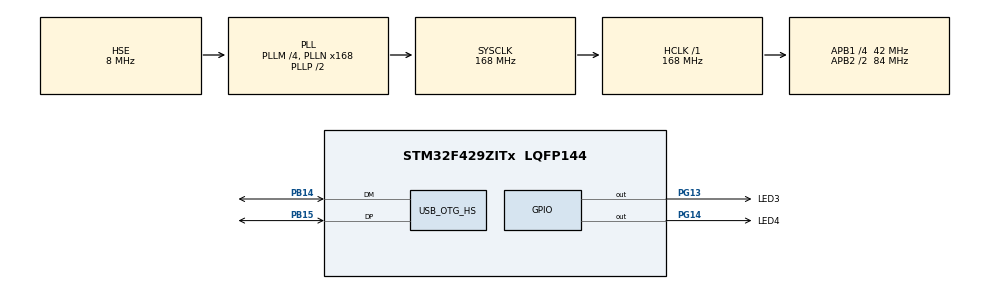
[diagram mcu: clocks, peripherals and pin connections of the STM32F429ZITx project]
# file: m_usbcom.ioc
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Mcu.Family=STM32F4
Mcu.Name=STM32F429ZITx
Mcu.Package=LQFP144
NVIC.OTG_HS_IRQn=true\:0\:0\:false\:false\:true\:false\:true\:true
NVIC.PriorityGroup=NVIC_PRIORITYGROUP_4
PA13.Mode=Serial_Wire
PA13.Signal=SYS_JTMS-SWDIO
PA14.Mode=Serial_Wire
PA14.Signal=SYS_JTCK-SWCLK
PB14.Mode=Device_Only_FS
PB14.Signal=USB_OTG_HS_DM
PB15.Mode=Device_Only_FS
PB15.Signal=USB_OTG_HS_DP
PG13.GPIO_Label=LED3
PG13.GPIO_Speed=GPIO_SPEED_FREQ_HIGH
PG13.Signal=GPIO_Output
PG14.GPIO_Label=LED4
PG14.GPIO_Speed=GPIO_SPEED_FREQ_HIGH
PG14.Signal=GPIO_Output
PH0/OSC_IN.Mode=HSE-External-Oscillator
PH0/OSC_IN.Signal=RCC_OSC_IN
PH1/OSC_OUT.Mode=HSE-External-Oscillator
PH1/OSC_OUT.Signal=RCC_OSC_OUT
ProjectManager.HeapSize=0x200
ProjectManager.StackSize=0x400
ProjectManager.TargetToolchain=STM32CubeIDE
RCC.48MHZClocksFreq_Value=48000000
RCC.AHBFreq_Value=168000000
RCC.APB1CLKDivider=RCC_HCLK_DIV4
RCC.APB1Freq_Value=42000000
RCC.APB1TimFreq_Value=84000000
RCC.APB2CLKDivider=RCC_HCLK_DIV2
RCC.APB2Freq_Value=84000000
RCC.APB2TimFreq_Value=168000000
RCC.CortexFreq_Value=168000000
RCC.HCLKFreq_Value=168000000
RCC.HSE_VALUE=8000000
RCC.HSI_VALUE=16000000
RCC.LSE_VALUE=32768
RCC.PLLM=4
RCC.PLLN=168
RCC.PLLQ=7
RCC.SYSCLKFreq_VALUE=168000000
RCC.SYSCLKSource=RCC_SYSCLKSOURCE_PLLCLK
RCC.VCOOutputFreq_Value=336000000
USB_DEVICE.CLASS_NAME_HS=CDC
USB_DEVICE.VirtualMode-CDC_HS=Cdc
USB_DEVICE.VirtualModeHS=Cdc_HS
USB_OTG_HS.VirtualMode-Device_Only_FS=Device_Only_FS
VP_USB_DEVICE_VS_USB_DEVICE_CDC_HS.Mode=CDC_HS
board=custom

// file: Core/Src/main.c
/* USER CODE BEGIN Header */
/**
  ******************************************************************************
  * @file           : main.c
  * @brief          : Main program body
  ******************************************************************************
  * @attention
  *
  * Copyright (c) 2022 STMicroelectronics.
  * All rights reserved.
  *
  * This software is licensed under terms that can be found in the LICENSE file
  * in the root directory of this software component.
  * If no LICENSE file comes with this software, it is provided AS-IS.
  *
  ******************************************************************************
  */
/* USER CODE END Header */
#include "main.h"
#include "string.h"
#include "usb_device.h"

/* USER CODE BEGIN Includes */
#include "usbd_cdc_if.h"
#include "stm32f429i_discovery_sdram.h"
#include "stm32f429i_discovery_lcd.h"

/* USER CODE END Includes */

void SystemClock_Config(void);
static void MX_GPIO_Init(void);

/* USER CODE BEGIN 0 */
uint8_t Rx_buffer[128];
/* USER CODE END 0 */

int main(void)
{

  /* MCU Configuration--------------------------------------------------------*/

  /* Reset of all peripherals, Initializes the Flash interface and the Systick. */
  HAL_Init();

  /* Configure the system clock */
  SystemClock_Config();

  /* Initialize all configured peripherals */
  MX_GPIO_Init();
  MX_USB_DEVICE_Init();
  /* USER CODE BEGIN 2 */
  BSP_LCD_Init();
  //Initial setup LCD display
  BSP_LCD_LayerDefaultInit(1,SDRAM_DEVICE_ADDR);
  BSP_LCD_SelectLayer(1);
  BSP_LCD_DisplayOn(); //turn on LCD
  BSP_LCD_SetFont(&Font16);
  BSP_LCD_GetFont();
  BSP_LCD_Clear(LCD_COLOR_BLACK); //clear the LCD on Black color
  BSP_LCD_SetBackColor(LCD_COLOR_BLACK); //set background color is black
  BSP_LCD_SetTextColor(LCD_COLOR_WHITE);

  BSP_LCD_DisplayStringAtLine(1,(uint8_t*)"Good evening, ");
  BSP_LCD_DisplayStringAtLine(2,(uint8_t*)"it's too dark here");

  /* USER CODE END 2 */
  /* Infinite loop */
  /* USER CODE BEGIN WHILE */
  while (1)
  {
	  	  int done = 0;

		  while(strncmp((const char *)Rx_buffer,"Hello STM",sizeof(Rx_buffer))!=0)
		  {
			  memset(Rx_buffer,0,sizeof(Rx_buffer));
		  }

		  BSP_LCD_Clear(LCD_COLOR_BLACK);
		  BSP_LCD_DisplayStringAtLine(1,(uint8_t*)"Do you want to turn");
		  BSP_LCD_DisplayStringAtLine(2,(uint8_t*)"on light?");
		  done = 1;

		  while(done) {
			  if(strncmp((const char*)Rx_buffer,"Turn on LED 3",sizeof(Rx_buffer))==0)
			  {
				  HAL_GPIO_WritePin(GPIOG, GPIO_PIN_13, GPIO_PIN_SET);
				  memset(Rx_buffer,0,sizeof(Rx_buffer));
			  }
			  else if(strncmp((const char*)Rx_buffer,"Turn on LED 4",sizeof(Rx_buffer))==0)
			  {
				  HAL_GPIO_WritePin(GPIOG, GPIO_PIN_14, GPIO_PIN_SET);
				  memset(Rx_buffer,0,sizeof(Rx_buffer));
			  }
			  else if(strncmp((const char*)Rx_buffer,"Turn off LED 3",sizeof(Rx_buffer))==0)
			  {
				  HAL_GPIO_WritePin(GPIOG, GPIO_PIN_13, GPIO_PIN_RESET);
				  memset(Rx_buffer,0,sizeof(Rx_buffer));
			  }
			  else if(strncmp((const char*)Rx_buffer,"Turn off LED 4",sizeof(Rx_buffer))==0)
			  {
				  HAL_GPIO_WritePin(GPIOG, GPIO_PIN_14, GPIO_PIN_RESET);
				  memset(Rx_buffer,0,sizeof(Rx_buffer));
			  }
			  else if(strncmp((const char*)Rx_buffer,"Good night",sizeof(Rx_buffer))==0)
			  {
				  HAL_GPIO_WritePin(GPIOG, GPIO_PIN_13, GPIO_PIN_RESET);
				  HAL_GPIO_WritePin(GPIOG, GPIO_PIN_14, GPIO_PIN_RESET);
				  memset(Rx_buffer,0,sizeof(Rx_buffer));
			  }
		  }
	}
}

void SystemClock_Config(void)
{
  RCC_OscInitTypeDef RCC_OscInitStruct = {0};
  RCC_ClkInitTypeDef RCC_ClkInitStruct = {0};

  /** Configure the main internal regulator output voltage
  */
  __HAL_RCC_PWR_CLK_ENABLE();
  __HAL_PWR_VOLTAGESCALING_CONFIG(PWR_REGULATOR_VOLTAGE_SCALE1);

  /** Initializes the RCC Oscillators according to the specified parameters
  * in the RCC_OscInitTypeDef structure.
  */
  RCC_OscInitStruct.OscillatorType = RCC_OSCILLATORTYPE_HSE;
  RCC_OscInitStruct.HSEState = RCC_HSE_ON;
  RCC_OscInitStruct.PLL.PLLState = RCC_PLL_ON;
  RCC_OscInitStruct.PLL.PLLSource = RCC_PLLSOURCE_HSE;
  RCC_OscInitStruct.PLL.PLLM = 4;
  RCC_OscInitStruct.PLL.PLLN = 168;
  RCC_OscInitStruct.PLL.PLLP = RCC_PLLP_DIV2;
  RCC_OscInitStruct.PLL.PLLQ = 7;
  if (HAL_RCC_OscConfig(&RCC_OscInitStruct) != HAL_OK)
  {
    Error_Handler();
  }

  /** Initializes the CPU, AHB and APB buses clocks
  */
  RCC_ClkInitStruct.ClockType = RCC_CLOCKTYPE_HCLK|RCC_CLOCKTYPE_SYSCLK
                              |RCC_CLOCKTYPE_PCLK1|RCC_CLOCKTYPE_PCLK2;
  RCC_ClkInitStruct.SYSCLKSource = RCC_SYSCLKSOURCE_PLLCLK;
  RCC_ClkInitStruct.AHBCLKDivider = RCC_SYSCLK_DIV1;
  RCC_ClkInitStruct.APB1CLKDivider = RCC_HCLK_DIV4;
  RCC_ClkInitStruct.APB2CLKDivider = RCC_HCLK_DIV2;

  if (HAL_RCC_ClockConfig(&RCC_ClkInitStruct, FLASH_LATENCY_5) != HAL_OK)
  {
    Error_Handler();
  }
}

static void MX_GPIO_Init(void)
{
  GPIO_InitTypeDef GPIO_InitStruct = {0};

  /* GPIO Ports Clock Enable */
  __HAL_RCC_GPIOH_CLK_ENABLE();
  __HAL_RCC_GPIOB_CLK_ENABLE();
  __HAL_RCC_GPIOA_CLK_ENABLE();
  __HAL_RCC_GPIOG_CLK_ENABLE();

  /*Configure GPIO pin Output Level */
  HAL_GPIO_WritePin(GPIOG, LED3_Pin|LED4_Pin, GPIO_PIN_RESET);

  /*Configure GPIO pins : LED3_Pin LED4_Pin */
  GPIO_InitStruct.Pin = LED3_Pin|LED4_Pin;
  GPIO_InitStruct.Mode = GPIO_MODE_OUTPUT_PP;
  GPIO_InitStruct.Pull = GPIO_NOPULL;
  GPIO_InitStruct.Speed = GPIO_SPEED_FREQ_HIGH;
  HAL_GPIO_Init(GPIOG, &GPIO_InitStruct);

}

void Error_Handler(void)
{
  __disable_irq();
  while (1)
  {
  }
}
